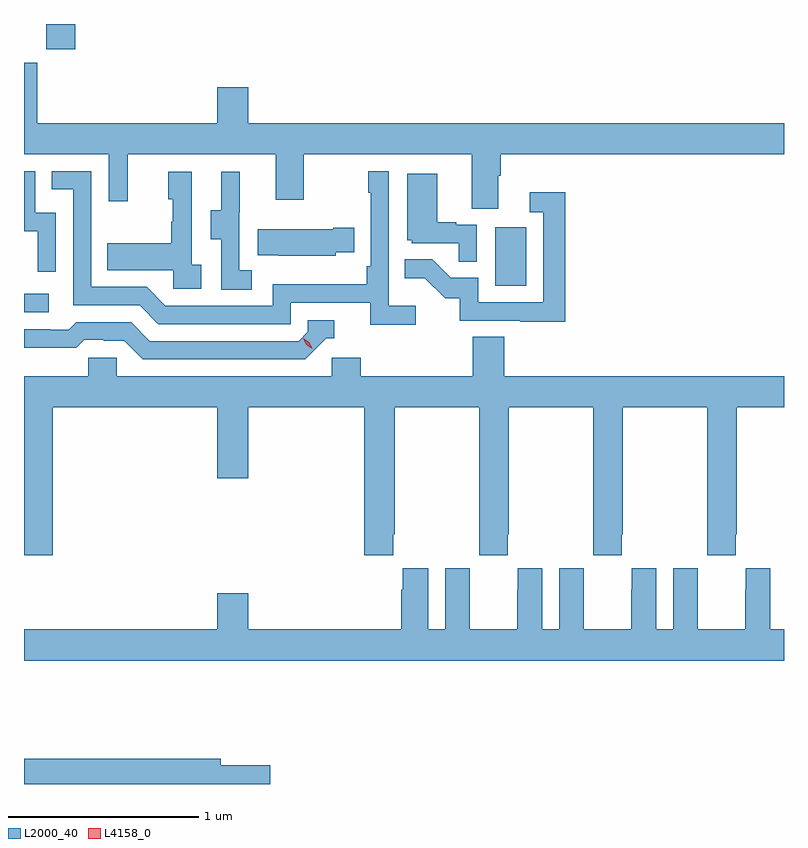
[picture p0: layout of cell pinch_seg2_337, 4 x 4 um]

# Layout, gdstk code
import gdstk
lib = gdstk.Library(unit=1e-6, precision=1e-09)
def R(c, l, rs):  # rectangles x0, y0, x1, y1
    for r in rs: c.add(gdstk.rectangle(r[:2], r[2:], *l))
def P(c, l, *ps):  # polygons
    for p in ps: c.add(gdstk.Polygon(p, *l))
L2000_40 = (2000, 40)
L4158_0 = (4158, 0)

pinch_seg2_337 = lib.new_cell('pinch_seg2_337')
R(pinch_seg2_337, L2000_40, [(967.188,634.818,967.318,634.914), (969.668,634.956,969.832,635.263), (967.304,636.201,967.457,636.334)])
P(pinch_seg2_337, L2000_40, [(969.685,635.536),(969.698,635.536),(969.698,635.648),(971.188,635.648),(971.188,635.812),(968.368,635.812),(968.368,636.001),(968.204,636.001),(968.204,635.812),(967.258,635.812),(967.258,636.129),(967.188,636.129),(967.188,635.648),(967.635,635.648),(967.635,635.4),(967.733,635.4),(967.733,635.648),(968.513,635.648),(968.513,635.409),(968.661,635.409),(968.661,635.648),(969.545,635.648),(969.545,635.362),(969.685,635.362)],
  [(969.25,634.852),(969.108,634.852),(969.108,635.56),(969,635.56),(969,635.447),(969.012,635.447),(969.012,635.059),(968.992,635.059),(968.992,634.963),(968.496,634.963),(968.496,634.851),(967.932,634.851),(967.833,634.95),(967.542,634.95),(967.542,635.559),(967.333,635.559),(967.333,635.463),(967.446,635.463),(967.446,634.854),(967.796,634.854),(967.895,634.755),(968.592,634.755),(968.592,634.866),(969.011,634.866),(969.011,634.75),(969.25,634.75)],
  [(967.356,635.34),(967.248,635.34),(967.248,635.559),(967.188,635.559),(967.188,635.243),(967.26,635.243),(967.26,635.031),(967.356,635.031)],
  [(968.122,635.066),(968.07,635.066),(968.07,635.557),(967.946,635.557),(967.946,635.412),(967.972,635.412),(967.972,635.294),(967.962,635.294),(967.962,635.179),(967.627,635.179),(967.627,635.039),(967.974,635.039),(967.974,634.941),(968.122,634.941)],
  [(968.386,635.039),(968.322,635.039),(968.322,635.343),(968.324,635.343),(968.324,635.557),(968.225,635.557),(968.225,635.355),(968.171,635.355),(968.171,635.2),(968.226,635.2),(968.226,634.936),(968.386,634.936)],
  [(969.57,635.277),(969.464,635.277),(969.464,635.29),(969.364,635.29),(969.364,635.545),(969.206,635.545),(969.206,635.196),(969.228,635.196),(969.228,635.181),(969.475,635.181),(969.475,635.083),(969.57,635.083)],
  [(970.037,635.449),(969.849,635.449),(969.849,635.343),(969.921,635.343),(969.921,634.869),(969.579,634.869),(969.579,634.998),(969.435,634.998),(969.337,635.096),(969.193,635.096),(969.193,634.997),(969.297,634.997),(969.404,634.89),(969.481,634.89),(969.481,634.773),(969.799,634.773),(969.799,634.768),(970.037,634.768)],
  [(968.829,635.132),(968.927,635.132),(968.927,635.262),(968.816,635.262),(968.816,635.254),(968.419,635.254),(968.419,635.117),(968.527,635.117),(968.527,635.114),(968.829,635.114)],
  [(968.778,634.68),(968.821,634.68),(968.821,634.776),(968.682,634.776),(968.682,634.713),(968.634,634.665),(967.851,634.665),(967.752,634.764),(967.463,634.764),(967.424,634.725),(967.325,634.725),(967.325,634.728),(967.188,634.728),(967.188,634.631),(967.23,634.631),(967.23,634.629),(967.463,634.629),(967.505,634.671),(967.608,634.671),(967.608,634.668),(967.715,634.668),(967.814,634.569),(968.667,634.569)],
  [(967.34,634.316),(968.204,634.316),(968.204,633.942),(968.368,633.942),(968.368,634.316),(968.978,634.316),(968.978,633.537),(969.131,633.537),(969.131,633.649),(969.138,633.649),(969.138,634.316),(969.583,634.316),(969.583,633.649),(969.585,633.649),(969.585,633.537),(969.735,633.537),(969.735,633.649),(969.738,633.649),(969.738,634.316),(970.183,634.316),(970.183,633.649),(970.185,633.649),(970.185,633.537),(970.335,633.537),(970.335,633.649),(970.338,633.649),(970.338,634.316),(970.783,634.316),(970.783,633.649),(970.785,633.649),(970.785,633.537),(970.935,633.537),(970.935,633.649),(970.938,633.649),(970.938,634.316),(971.188,634.316),(971.188,634.48),(969.716,634.48),(969.716,634.688),(969.551,634.688),(969.551,634.48),(968.96,634.48),(968.96,634.578),(968.808,634.578),(968.808,634.48),(967.677,634.48),(967.677,634.578),(967.527,634.578),(967.527,634.48),(967.188,634.48),(967.188,633.537),(967.34,633.537)],
  [(971.188,633.148),(971.116,633.148),(971.116,633.469),(970.986,633.469),(970.986,633.356),(970.985,633.356),(970.985,633.148),(970.735,633.148),(970.735,633.356),(970.734,633.356),(970.734,633.469),(970.604,633.469),(970.604,633.148),(970.516,633.148),(970.516,633.469),(970.386,633.469),(970.386,633.356),(970.385,633.356),(970.385,633.148),(970.135,633.148),(970.135,633.356),(970.134,633.356),(970.134,633.469),(970.004,633.469),(970.004,633.148),(969.916,633.148),(969.916,633.469),(969.786,633.469),(969.786,633.356),(969.785,633.356),(969.785,633.148),(969.535,633.148),(969.535,633.356),(969.534,633.356),(969.534,633.469),(969.404,633.469),(969.404,633.148),(969.316,633.148),(969.316,633.469),(969.182,633.469),(969.182,633.356),(969.173,633.356),(969.173,633.148),(968.368,633.148),(968.368,633.337),(968.204,633.337),(968.204,633.148),(967.188,633.148),(967.188,632.984),(971.188,632.984)],
  [(968.485,632.432),(968.224,632.432),(968.224,632.468),(967.188,632.468),(967.188,632.334),(968.485,632.334)])
P(pinch_seg2_337, L4158_0, [(968.705,634.626),(968.674,634.646),(968.658,634.679),(968.658,634.68),(968.658,634.68),(968.689,634.659),(968.705,634.626),(968.705,634.626)])

lib.write_gds('pinch_seg2_337.gds')
